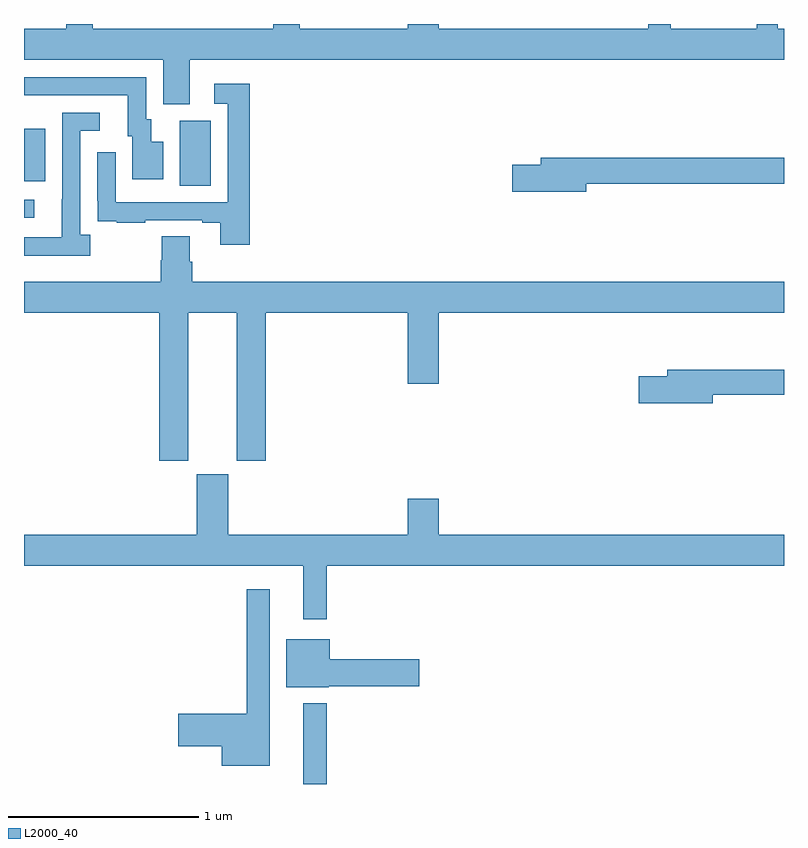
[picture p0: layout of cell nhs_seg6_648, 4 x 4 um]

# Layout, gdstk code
import gdstk
lib = gdstk.Library(unit=1e-6, precision=1e-09)
def R(c, l, rs):  # rectangles x0, y0, x1, y1
    for r in rs: c.add(gdstk.rectangle(r[:2], r[2:], *l))
def P(c, l, *ps):  # polygons
    for p in ps: c.add(gdstk.Polygon(p, *l))
L2000_40 = (2000, 40)

nhs_seg6_648 = lib.new_cell('nhs_seg6_648')
R(nhs_seg6_648, L2000_40, [(152.471,967.5,152.593,967.924), (151,970.479,151.054,970.575), (151.82,970.648,151.984,970.992), (151,970.673,151.111,970.948)])
P(nhs_seg6_648, L2000_40, [(151.873,971.312),(155,971.312),(155,971.476),(154.966,971.476),(154.966,971.5),(154.856,971.5),(154.856,971.476),(154.403,971.476),(154.403,971.5),(154.285,971.5),(154.285,971.476),(153.184,971.476),(153.184,971.5),(153.02,971.5),(153.02,971.476),(152.452,971.476),(152.452,971.5),(152.313,971.5),(152.313,971.476),(151.363,971.476),(151.363,971.5),(151.223,971.5),(151.223,971.476),(151,971.476),(151,971.312),(151.733,971.312),(151.733,971.077),(151.873,971.077)],
  [(151.732,970.879),(151.669,970.879),(151.669,970.998),(151.644,970.998),(151.644,971.22),(151,971.22),(151,971.124),(151.547,971.124),(151.547,970.908),(151.571,970.908),(151.571,970.683),(151.732,970.683)],
  [(152.189,971.185),(152.001,971.185),(152.001,971.079),(152.073,971.079),(152.073,970.563),(151.482,970.563),(151.482,970.825),(151.386,970.825),(151.386,970.57),(151.387,970.57),(151.387,970.461),(151.489,970.461),(151.489,970.455),(151.637,970.455),(151.637,970.467),(151.937,970.467),(151.937,970.455),(152.033,970.455),(152.033,970.338),(152.189,970.338)],
  [(151.348,970.39),(151.296,970.39),(151.296,970.938),(151.399,970.938),(151.399,971.034),(151.2,971.034),(151.2,970.577),(151.199,970.577),(151.199,970.377),(151,970.377),(151,970.28),(151.348,970.28)],
  [(153.958,970.66),(155,970.66),(155,970.796),(153.719,970.796),(153.719,970.76),(153.57,970.76),(153.57,970.618),(153.958,970.618)],
  [(151.864,969.98),(152.12,969.98),(152.12,969.201),(152.273,969.201),(152.273,969.98),(153.02,969.98),(153.02,969.606),(153.184,969.606),(153.184,969.98),(155,969.98),(155,970.144),(151.886,970.144),(151.886,970.25),(151.873,970.25),(151.873,970.382),(151.726,970.382),(151.726,970.257),(151.721,970.257),(151.721,970.144),(151,970.144),(151,969.98),(151.712,969.98),(151.712,969.201),(151.864,969.201)],
  [(154.624,969.55),(155,969.55),(155,969.679),(154.385,969.679),(154.385,969.645),(154.236,969.645),(154.236,969.503),(154.624,969.503)],
  [(152.593,968.648),(155,968.648),(155,968.812),(153.184,968.812),(153.184,969.001),(153.02,969.001),(153.02,968.812),(152.074,968.812),(152.074,969.129),(151.91,969.129),(151.91,968.812),(151,968.812),(151,968.648),(152.471,968.648),(152.471,968.367),(152.593,968.367)],
  [(152.293,968.524),(152.172,968.524),(152.172,967.871),(151.812,967.871),(151.812,967.7),(152.042,967.7),(152.042,967.595),(152.293,967.595)],
  [(152.604,968.015),(153.079,968.015),(153.079,968.157),(152.608,968.157),(152.608,968.263),(152.381,968.263),(152.381,968.009),(152.604,968.009)])

lib.write_gds('nhs_seg6_648.gds')
